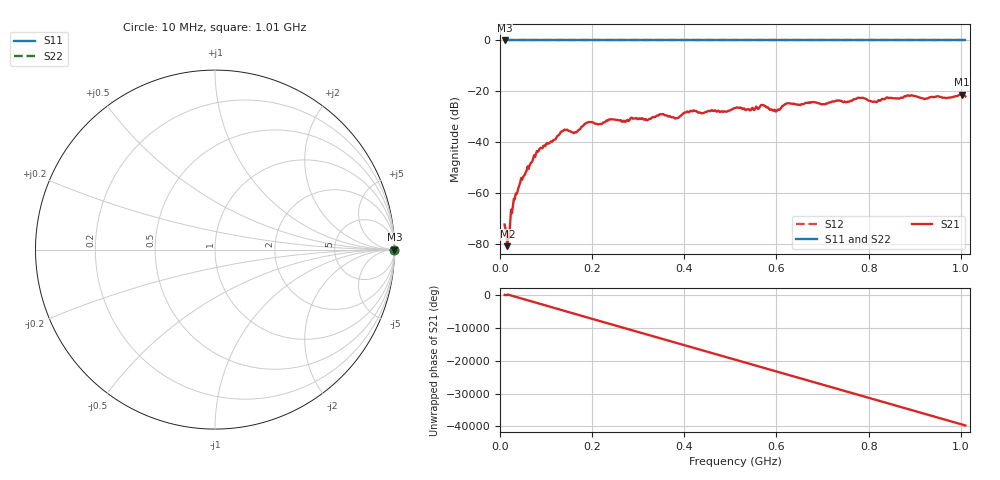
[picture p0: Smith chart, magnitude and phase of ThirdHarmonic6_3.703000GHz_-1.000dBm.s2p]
! 8/17/2025 12:35:31 PM
! C:\ANRITSUVNA\TEMP\TEMP.S2P
! CHANNEL.1
! TR.MEASUREMENT
! RAW.DATA
! RF.CORRECTION.OFF
! AVERAGING.OFF
! IF.BANDWIDTH: 5KHZ
! SWEEPTYPE:  FREQ.SWEEP(Linear)
! Reference Plane Port Info
! PORT:  PORT1  PORT2
! DISTANCE:  0  m  0  m
! TIME:  0  s  0  s
! PHASE.OFFSET:  0  deg.  0  deg.
! LOSS:  0  dB  0  dB
! REF.LOSS:  0  dB  0  dB
! REF.FREQ:  0  Hz  0  Hz
! Power Info
! POWER:  -20  dBm  -20  dBm
! EFF.POWER:  -20  dBm  -20  dBm
! SOURCE.ATTEN:  0  dB  0  dB
! TEST.ATTEN:  0  dB  0  dB
# GHZ S RI R 50.0
! FREQ.GHZ  S11RE  S11IM  S21RE  S21IM  S12RE  S12IM  S22RE  S22IM
!; PortSelection: Port_12
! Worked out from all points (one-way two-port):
!   501 points, 10 MHz to 1.01 GHz, reference 50 ohm
!   highest |S21| = -21.24 dB at 1.002 GHz (marker M1); lowest = -80.7 dB at 16 MHz (marker M2)
!   lowest |S11| = 0.0 dB at 10 MHz (marker M3)
!   |S11| at or under -10 dB: nowhere
!   |S22| runs from 0.0 to 0.0 dB; largest |S21 - S12| = 1.1
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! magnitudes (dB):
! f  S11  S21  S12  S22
! 10 MHz  0.0  -72.2  0.0  0.0
! 16 MHz  0.0  -80.7  0.0  0.0
! 20 MHz  0.0  -77.3  0.0  0.0
! 28 MHz  0.0  -64.9  0.0  0.0
! 34 MHz  0.0  -60.1  0.0  0.0
! 46 MHz  0.0  -53.9  0.0  0.0
! 78 MHz  0.0  -44.6  0.0  0.0
! 136 MHz  0.0  -35.6  0.0  0.0
! 162 MHz  0.0  -36.2  0.0  0.0
! 178 MHz  0.0  -33.8  0.0  0.0
! 194 MHz  0.0  -32.0  0.0  0.0
! 344 MHz  0.0  -29.5  0.0  0.0
! 384 MHz  0.0  -30.5  0.0  0.0
! 416 MHz  0.0  -27.8  0.0  0.0
! 510 MHz  0.0  -26.5  0.0  0.0
! 570 MHz  0.0  -25.3  0.0  0.0
! 596 MHz  0.0  -27.2  0.0  0.0
! 622 MHz  0.0  -24.7  0.0  0.0
! 678 MHz  0.0  -24.2  0.0  0.0
! 844 MHz  0.0  -22.6  0.0  0.0
! 1.002 GHz  0.0  -21.2  0.0  0.0
! 1.01 GHz  0.0  -22.0  0.0  0.0
